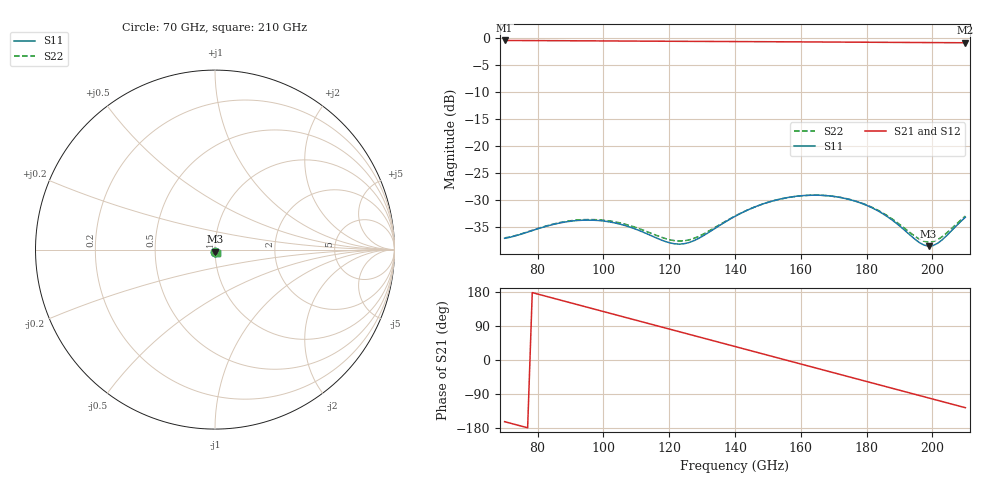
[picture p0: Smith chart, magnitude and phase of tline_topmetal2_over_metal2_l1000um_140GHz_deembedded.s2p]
! Created with skrf 2.2.0 (http://scikit-rf.org).
# GHz S DB R 50.0
! Port[1] = P1
! Port[2] = P2
!freq dBS11 angS11 dBS21 angS21 dBS12 angS12 dBS22 angS22
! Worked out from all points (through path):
!   101 points, 70 GHz to 210 GHz, reference 50 ohm
!   highest |S21| = -0.50 dB at 70 GHz (marker M1); lowest = -0.9 dB at 210 GHz (marker M2)
!   group delay of S21, straight-line fit = 6.41 ps
!   lowest |S11| = -38.5 dB at 198.8 GHz (marker M3), VSWR 1.02, Z = 49.9 - j1.18 ohm
!   |S11| at or under -10 dB: start of sweep to end of sweep
!   |S22| runs from -37.7 to -29.1 dB; largest |S21 - S12| = 2.2e-14
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70  -37.01 -92.0  -0.50 -162.7  -0.50 -162.7  -36.94 -92.7
75.6  -36.13 -86.9  -0.52 -175.7  -0.52 -175.7  -36.09 -87.4
81.2  -35.05 -86.9  -0.53 171.4  -0.53 171.4  -35.00 -87.0
86.8  -34.18 -90.5  -0.55 158.4  -0.55 158.4  -34.11 -90.5
93.8  -33.67 -97.7  -0.57 142.3  -0.57 142.3  -33.58 -97.5
100.8  -33.88 -105.3  -0.59 126.1  -0.59 126.1  -33.72 -104.6
106.4  -34.62 -110.1  -0.61 113.2  -0.61 113.2  -34.37 -109.2
117.6  -37.32 -106.2  -0.64 87.3  -0.64 87.3  -36.81 -106.0
121.8  -38.04 -96.6  -0.66 77.6  -0.66 77.6  -37.47 -97.5
126  -37.80 -84.3  -0.67 67.9  -0.67 67.9  -37.31 -86.6
133  -35.54 -70.9  -0.69 51.8  -0.69 51.8  -35.34 -73.6
140  -32.96 -70.0  -0.71 35.6  -0.71 35.6  -32.91 -72.0
147  -31.00 -75.9  -0.73 19.4  -0.73 19.4  -31.00 -77.2
152.6  -29.93 -83.1  -0.74 6.5  -0.74 6.5  -29.95 -83.9
163.8  -29.05 -100.0  -0.78 -19.3  -0.78 -19.3  -29.06 -100.0
169.4  -29.24 -108.7  -0.80 -32.3  -0.80 -32.3  -29.23 -108.3
176.4  -30.13 -118.8  -0.82 -48.4  -0.82 -48.4  -30.09 -117.9
187.6  -33.58 -127.8  -0.86 -74.3  -0.86 -74.3  -33.38 -125.9
196  -37.79 -111.4  -0.88 -93.6  -0.88 -93.6  -37.16 -109.8
198.8  -38.46 -96.3  -0.89 -100.1  -0.89 -100.1  -37.72 -96.3
203  -37.27 -73.7  -0.91 -109.8  -0.91 -109.8  -36.69 -75.9
210  -33.12 -60.0  -0.93 -125.9  -0.93 -125.9  -32.91 -62.2
